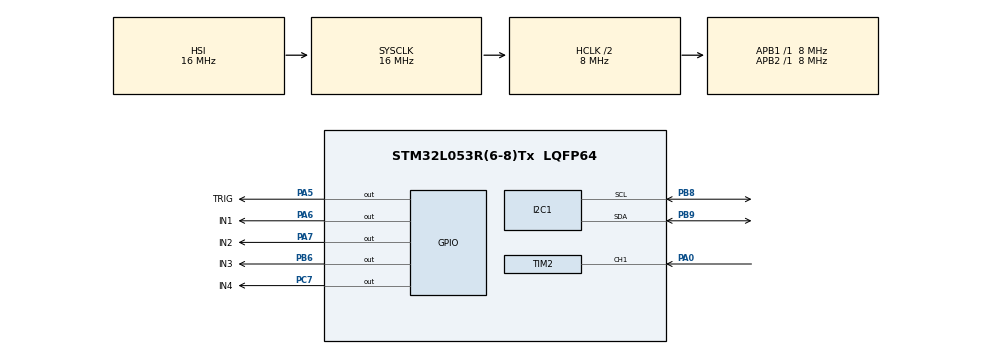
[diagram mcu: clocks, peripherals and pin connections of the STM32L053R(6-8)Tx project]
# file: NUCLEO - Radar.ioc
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I2C1.Timing=0x00201D2B
Mcu.Family=STM32L0
Mcu.Name=STM32L053R(6-8)Tx
Mcu.Package=LQFP64
NVIC.TIM2_IRQn=true\:0\:0\:false\:false\:true\:true\:true\:true
PA0.Signal=S_TIM2_CH1
PA5.GPIO_Label=TRIG
PA5.Signal=GPIO_Output
PA6.GPIO_Label=IN1
PA6.Signal=GPIO_Output
PA7.GPIO_Label=IN2
PA7.Signal=GPIO_Output
PB6.GPIO_Label=IN3
PB6.Signal=GPIO_Output
PB8.Mode=I2C
PB8.Signal=I2C1_SCL
PB9.Mode=I2C
PB9.Signal=I2C1_SDA
PC7.GPIO_Label=IN4
PC7.Signal=GPIO_Output
ProjectManager.HeapSize=0x200
ProjectManager.StackSize=0x400
ProjectManager.TargetToolchain=STM32CubeIDE
RCC.AHBCLKDivider=RCC_SYSCLK_DIV2
RCC.AHBFreq_Value=8000000
RCC.APB1Freq_Value=8000000
RCC.APB1TimFreq_Value=8000000
RCC.APB2Freq_Value=8000000
RCC.APB2TimFreq_Value=8000000
RCC.HCLKFreq_Value=8000000
RCC.HSE_VALUE=8000000
RCC.HSI16_VALUE=16000000
RCC.HSI48_VALUE=48000000
RCC.HSI_VALUE=16000000
RCC.LSE_VALUE=32768
RCC.MSI_VALUE=2097000
RCC.SYSCLKFreq_VALUE=16000000
RCC.SYSCLKSource=RCC_SYSCLKSOURCE_HSI
RCC.VCOOutputFreq_Value=48000000
SH.S_TIM2_CH1.0=TIM2_CH1,Input_Capture1_from_TI1
TIM2.Channel-Input_Capture1_from_TI1=TIM_CHANNEL_1
TIM2.ICPolarity_CH1=TIM_INPUTCHANNELPOLARITY_BOTHEDGE
TIM2.Prescaler=8-1
TIM6.Prescaler=8-1
VP_TIM2_VS_ClockSourceINT.Mode=Internal
VP_TIM6_VS_ClockSourceINT.Mode=Enable_Timer
board=NUCLEO-L053R8

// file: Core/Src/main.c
/* USER CODE BEGIN Header */
/**
  ******************************************************************************
  * @file           : main.c
  * @brief          : Main program body
  ******************************************************************************
  * @attention
  *
  * Copyright (c) 2025 STMicroelectronics.
  * All rights reserved.
  *
  * This software is licensed under terms that can be found in the LICENSE file
  * in the root directory of this software component.
  * If no LICENSE file comes with this software, it is provided AS-IS.
  *
  ******************************************************************************
  */
/* USER CODE END Header */
#include "main.h"

/* USER CODE BEGIN Includes */
#include "math.h"
#include "stdlib.h"
#include "ssd1306_conf.h"
#include "ssd1306_fonts.h"
#include "ssd1306_tests.h"
/* USER CODE END Includes */

/* USER CODE BEGIN PTD */
typedef enum{
	FIRST_CAPTURE,
	SECOND_CAPTURE
}Ultrasonic_Status;

typedef enum{
	CLOCKWISE = 0x00,
	COUNTERCLOCKWISE = 0x01,
	STOPED
}StepMotor_Typedef;

typedef struct{
	Ultrasonic_Status Status;
	uint32_t FirstGetter, SecondGetter, Delta;
	float Distance;

}Ultrasonic_Typedef;

typedef struct{
	uint8_t OLED_LineIntesity;
	uint8_t OLED_Precision;
	float OLED_LineAng;
} OLED_DrawRadar_Typedef;

/* USER CODE END PTD */

/* USER CODE BEGIN PD */
#define OLED_CENTERX 32
#define OLED_CENTERY 32
#define OLED_LINE_INTESITY 60
/* USER CODE END PD */

I2C_HandleTypeDef hi2c1;

TIM_HandleTypeDef htim2;
TIM_HandleTypeDef htim6;

/* USER CODE BEGIN PV */

int16_t ang = 0;
int8_t flag = -1;
int16_t motor_ang = 0;
Ultrasonic_Typedef Readder;
OLED_DrawRadar_Typedef Control;

/* USER CODE END PV */

void SystemClock_Config(void);
static void MX_GPIO_Init(void);
static void MX_I2C1_Init(void);
static void MX_TIM2_Init(void);
static void MX_TIM6_Init(void);
/* USER CODE BEGIN PFP */

void HAL_TIM_IC_CaptureCallback(TIM_HandleTypeDef *htim){
	if(htim == &htim2){
		if(Readder.Status == FIRST_CAPTURE){
			Readder.FirstGetter = HAL_TIM_ReadCapturedValue(htim, TIM_CHANNEL_1);
			Readder.Status = SECOND_CAPTURE;
			__HAL_TIM_SET_CAPTUREPOLARITY(htim, TIM_CHANNEL_1, TIM_INPUTCHANNELPOLARITY_FALLING);
		}

		else {
			Readder.SecondGetter = HAL_TIM_ReadCapturedValue(htim, TIM_CHANNEL_1);

			if(Readder.SecondGetter > Readder.FirstGetter) Readder.Delta = Readder.SecondGetter - Readder.FirstGetter;
			else Readder.Delta = (0xFFFF - Readder.FirstGetter) + Readder.SecondGetter;

			Readder.Distance = Readder.Delta / 58;

			Readder.Status = FIRST_CAPTURE;
			__HAL_TIM_SET_CAPTUREPOLARITY(htim, TIM_CHANNEL_1, TIM_INPUTCHANNELPOLARITY_RISING);
		}
	}
}

void OLED_DrawRadar(void){
	float x, y, rad;

	ang += flag;

	if(ang <= 0) {
		ssd1306_Fill(Black);
		flag = 1;
	} else if (ang >= 180){
		ssd1306_Fill(Black);
		flag = -1;
	}

	if(Readder.Distance <= 31) Control.OLED_LineIntesity = (Readder.Distance * 60) / 30;
	else Control.OLED_LineIntesity = OLED_LINE_INTESITY;

	rad = ang * (M_PI / 180);

	x = (cos(rad) * Control.OLED_LineIntesity) + 64;
	y = -(sin(rad) * Control.OLED_LineIntesity) + 63;

	ssd1306_DrawCircle(64, 62, 60, White);
	ssd1306_Line(64, 62, x, y, White);
	ssd1306_UpdateScreen();
}

void u_Delay(uint32_t delay){
	__HAL_TIM_SET_COUNTER(&htim6, 0);
	while(__HAL_TIM_GET_COUNTER(&htim6) < delay);
}

void ULTRASONIC_ReadValue(void){
	HAL_GPIO_WritePin(TRIG_GPIO_Port, TRIG_Pin, GPIO_PIN_SET);
	u_Delay(10);
	HAL_GPIO_WritePin(TRIG_GPIO_Port, TRIG_Pin, GPIO_PIN_RESET);
	u_Delay(50);
}

void MOTOR_direction(StepMotor_Typedef dir, uint32_t delay){
	if(dir == CLOCKWISE){
		for(int imot = 0; imot < 4; imot++){
			if(imot == 0) HAL_GPIO_WritePin(IN1_GPIO_Port, IN1_Pin, GPIO_PIN_SET);
			else HAL_GPIO_WritePin(IN1_GPIO_Port, IN1_Pin, GPIO_PIN_RESET);

			if (imot == 1) HAL_GPIO_WritePin(IN2_GPIO_Port, IN2_Pin, GPIO_PIN_SET);
			else HAL_GPIO_WritePin(IN2_GPIO_Port, IN2_Pin, GPIO_PIN_RESET);

			if (imot == 2) HAL_GPIO_WritePin(IN3_GPIO_Port, IN3_Pin, GPIO_PIN_SET);
			else HAL_GPIO_WritePin(IN3_GPIO_Port, IN3_Pin, GPIO_PIN_RESET);

			if (imot == 3) HAL_GPIO_WritePin(IN4_GPIO_Port, IN4_Pin, GPIO_PIN_SET);
			else HAL_GPIO_WritePin(IN4_GPIO_Port, IN4_Pin, GPIO_PIN_RESET);
			HAL_Delay(delay);
		}
	}

	if(dir == COUNTERCLOCKWISE){
		for(int imot = 0; imot < 4; imot++){
			if(imot == 0) HAL_GPIO_WritePin(IN4_GPIO_Port, IN4_Pin, GPIO_PIN_SET);
			else HAL_GPIO_WritePin(IN4_GPIO_Port, IN4_Pin, GPIO_PIN_RESET);

			if (imot == 1) HAL_GPIO_WritePin(IN3_GPIO_Port, IN3_Pin, GPIO_PIN_SET);
			else HAL_GPIO_WritePin(IN3_GPIO_Port, IN3_Pin, GPIO_PIN_RESET);

			if (imot == 2) HAL_GPIO_WritePin(IN2_GPIO_Port, IN2_Pin, GPIO_PIN_SET);
			else HAL_GPIO_WritePin(IN2_GPIO_Port, IN2_Pin, GPIO_PIN_RESET);

			if (imot == 3) HAL_GPIO_WritePin(IN1_GPIO_Port, IN1_Pin, GPIO_PIN_SET);
			else HAL_GPIO_WritePin(IN1_GPIO_Port, IN1_Pin, GPIO_PIN_RESET);
			HAL_Delay(delay);
		}
	}

	HAL_GPIO_WritePin(IN1_GPIO_Port, IN1_Pin, GPIO_PIN_RESET);
	HAL_GPIO_WritePin(IN2_GPIO_Port, IN2_Pin, GPIO_PIN_RESET);
	HAL_GPIO_WritePin(IN3_GPIO_Port, IN3_Pin, GPIO_PIN_RESET);
	HAL_GPIO_WritePin(IN4_GPIO_Port, IN4_Pin, GPIO_PIN_RESET);
}

/* USER CODE END PFP */

int main(void)
{

  /* MCU Configuration--------------------------------------------------------*/

  /* Reset of all peripherals, Initializes the Flash interface and the Systick. */
  HAL_Init();

  /* Configure the system clock */
  SystemClock_Config();

  /* Initialize all configured peripherals */
  MX_GPIO_Init();
  MX_I2C1_Init();
  MX_TIM2_Init();
  MX_TIM6_Init();
  /* USER CODE BEGIN 2 */
  Control.OLED_LineIntesity = 60;

  ssd1306_Init();
  ssd1306_Fill(Black);

  HAL_TIM_Base_Start(&htim6);
  HAL_TIM_IC_Start_IT(&htim2, TIM_CHANNEL_1);
  /* USER CODE END 2 */

  /* Infinite loop */
  /* USER CODE BEGIN WHILE */
  while (1) {
	  ULTRASONIC_ReadValue();
	  OLED_DrawRadar();

	  if (flag == 1) MOTOR_direction(CLOCKWISE, 1);
	  else if (flag == -1) MOTOR_direction(COUNTERCLOCKWISE, 1);

    /* USER CODE END WHILE */

  }
}

void SystemClock_Config(void)
{
  RCC_OscInitTypeDef RCC_OscInitStruct = {0};
  RCC_ClkInitTypeDef RCC_ClkInitStruct = {0};
  RCC_PeriphCLKInitTypeDef PeriphClkInit = {0};

  /** Configure the main internal regulator output voltage
  */
  __HAL_PWR_VOLTAGESCALING_CONFIG(PWR_REGULATOR_VOLTAGE_SCALE1);

  /** Initializes the RCC Oscillators according to the specified parameters
  * in the RCC_OscInitTypeDef structure.
  */
  RCC_OscInitStruct.OscillatorType = RCC_OSCILLATORTYPE_HSI;
  RCC_OscInitStruct.HSIState = RCC_HSI_ON;
  RCC_OscInitStruct.HSICalibrationValue = RCC_HSICALIBRATION_DEFAULT;
  RCC_OscInitStruct.PLL.PLLState = RCC_PLL_NONE;
  if (HAL_RCC_OscConfig(&RCC_OscInitStruct) != HAL_OK)
  {
    Error_Handler();
  }

  /** Initializes the CPU, AHB and APB buses clocks
  */
  RCC_ClkInitStruct.ClockType = RCC_CLOCKTYPE_HCLK|RCC_CLOCKTYPE_SYSCLK
                              |RCC_CLOCKTYPE_PCLK1|RCC_CLOCKTYPE_PCLK2;
  RCC_ClkInitStruct.SYSCLKSource = RCC_SYSCLKSOURCE_HSI;
  RCC_ClkInitStruct.AHBCLKDivider = RCC_SYSCLK_DIV2;
  RCC_ClkInitStruct.APB1CLKDivider = RCC_HCLK_DIV1;
  RCC_ClkInitStruct.APB2CLKDivider = RCC_HCLK_DIV1;

  if (HAL_RCC_ClockConfig(&RCC_ClkInitStruct, FLASH_LATENCY_0) != HAL_OK)
  {
    Error_Handler();
  }
  PeriphClkInit.PeriphClockSelection = RCC_PERIPHCLK_I2C1;
  PeriphClkInit.I2c1ClockSelection = RCC_I2C1CLKSOURCE_PCLK1;
  if (HAL_RCCEx_PeriphCLKConfig(&PeriphClkInit) != HAL_OK)
  {
    Error_Handler();
  }
}

static void MX_I2C1_Init(void)
{

  hi2c1.Instance = I2C1;
  hi2c1.Init.Timing = 0x00201D2B;
  hi2c1.Init.OwnAddress1 = 0;
  hi2c1.Init.AddressingMode = I2C_ADDRESSINGMODE_7BIT;
  hi2c1.Init.DualAddressMode = I2C_DUALADDRESS_DISABLE;
  hi2c1.Init.OwnAddress2 = 0;
  hi2c1.Init.OwnAddress2Masks = I2C_OA2_NOMASK;
  hi2c1.Init.GeneralCallMode = I2C_GENERALCALL_DISABLE;
  hi2c1.Init.NoStretchMode = I2C_NOSTRETCH_DISABLE;
  if (HAL_I2C_Init(&hi2c1) != HAL_OK)
  {
    Error_Handler();
  }

  /** Configure Analogue filter
  */
  if (HAL_I2CEx_ConfigAnalogFilter(&hi2c1, I2C_ANALOGFILTER_ENABLE) != HAL_OK)
  {
    Error_Handler();
  }

  /** Configure Digital filter
  */
  if (HAL_I2CEx_ConfigDigitalFilter(&hi2c1, 0) != HAL_OK)
  {
    Error_Handler();
  }

}

static void MX_TIM2_Init(void)
{

  TIM_ClockConfigTypeDef sClockSourceConfig = {0};
  TIM_MasterConfigTypeDef sMasterConfig = {0};
  TIM_IC_InitTypeDef sConfigIC = {0};

  htim2.Instance = TIM2;
  htim2.Init.Prescaler = 8-1;
  htim2.Init.CounterMode = TIM_COUNTERMODE_UP;
  htim2.Init.Period = 65535;
  htim2.Init.ClockDivision = TIM_CLOCKDIVISION_DIV1;
  htim2.Init.AutoReloadPreload = TIM_AUTORELOAD_PRELOAD_DISABLE;
  if (HAL_TIM_Base_Init(&htim2) != HAL_OK)
  {
    Error_Handler();
  }
  sClockSourceConfig.ClockSource = TIM_CLOCKSOURCE_INTERNAL;
  if (HAL_TIM_ConfigClockSource(&htim2, &sClockSourceConfig) != HAL_OK)
  {
    Error_Handler();
  }
  if (HAL_TIM_IC_Init(&htim2) != HAL_OK)
  {
    Error_Handler();
  }
  sMasterConfig.MasterOutputTrigger = TIM_TRGO_RESET;
  sMasterConfig.MasterSlaveMode = TIM_MASTERSLAVEMODE_DISABLE;
  if (HAL_TIMEx_MasterConfigSynchronization(&htim2, &sMasterConfig) != HAL_OK)
  {
    Error_Handler();
  }
  sConfigIC.ICPolarity = TIM_INPUTCHANNELPOLARITY_BOTHEDGE;
  sConfigIC.ICSelection = TIM_ICSELECTION_DIRECTTI;
  sConfigIC.ICPrescaler = TIM_ICPSC_DIV1;
  sConfigIC.ICFilter = 0;
  if (HAL_TIM_IC_ConfigChannel(&htim2, &sConfigIC, TIM_CHANNEL_1) != HAL_OK)
  {
    Error_Handler();
  }

}

static void MX_TIM6_Init(void)
{

  TIM_MasterConfigTypeDef sMasterConfig = {0};

  htim6.Instance = TIM6;
  htim6.Init.Prescaler = 8-1;
  htim6.Init.CounterMode = TIM_COUNTERMODE_UP;
  htim6.Init.Period = 65535;
  htim6.Init.AutoReloadPreload = TIM_AUTORELOAD_PRELOAD_DISABLE;
  if (HAL_TIM_Base_Init(&htim6) != HAL_OK)
  {
    Error_Handler();
  }
  sMasterConfig.MasterOutputTrigger = TIM_TRGO_RESET;
  sMasterConfig.MasterSlaveMode = TIM_MASTERSLAVEMODE_DISABLE;
  if (HAL_TIMEx_MasterConfigSynchronization(&htim6, &sMasterConfig) != HAL_OK)
  {
    Error_Handler();
  }

}

static void MX_GPIO_Init(void)
{
  GPIO_InitTypeDef GPIO_InitStruct = {0};

  /* GPIO Ports Clock Enable */
  __HAL_RCC_GPIOA_CLK_ENABLE();
  __HAL_RCC_GPIOC_CLK_ENABLE();
  __HAL_RCC_GPIOB_CLK_ENABLE();

  /*Configure GPIO pin Output Level */
  HAL_GPIO_WritePin(GPIOA, TRIG_Pin|IN1_Pin|IN2_Pin, GPIO_PIN_RESET);

  /*Configure GPIO pin Output Level */
  HAL_GPIO_WritePin(IN4_GPIO_Port, IN4_Pin, GPIO_PIN_RESET);

  /*Configure GPIO pin Output Level */
  HAL_GPIO_WritePin(IN3_GPIO_Port, IN3_Pin, GPIO_PIN_RESET);

  /*Configure GPIO pins : TRIG_Pin IN1_Pin IN2_Pin */
  GPIO_InitStruct.Pin = TRIG_Pin|IN1_Pin|IN2_Pin;
  GPIO_InitStruct.Mode = GPIO_MODE_OUTPUT_PP;
  GPIO_InitStruct.Pull = GPIO_NOPULL;
  GPIO_InitStruct.Speed = GPIO_SPEED_FREQ_LOW;
  HAL_GPIO_Init(GPIOA, &GPIO_InitStruct);

  /*Configure GPIO pin : IN4_Pin */
  GPIO_InitStruct.Pin = IN4_Pin;
  GPIO_InitStruct.Mode = GPIO_MODE_OUTPUT_PP;
  GPIO_InitStruct.Pull = GPIO_NOPULL;
  GPIO_InitStruct.Speed = GPIO_SPEED_FREQ_LOW;
  HAL_GPIO_Init(IN4_GPIO_Port, &GPIO_InitStruct);

  /*Configure GPIO pin : IN3_Pin */
  GPIO_InitStruct.Pin = IN3_Pin;
  GPIO_InitStruct.Mode = GPIO_MODE_OUTPUT_PP;
  GPIO_InitStruct.Pull = GPIO_NOPULL;
  GPIO_InitStruct.Speed = GPIO_SPEED_FREQ_LOW;
  HAL_GPIO_Init(IN3_GPIO_Port, &GPIO_InitStruct);

}

void Error_Handler(void)
{
  __disable_irq();
  while (1)
  {
  }
}
